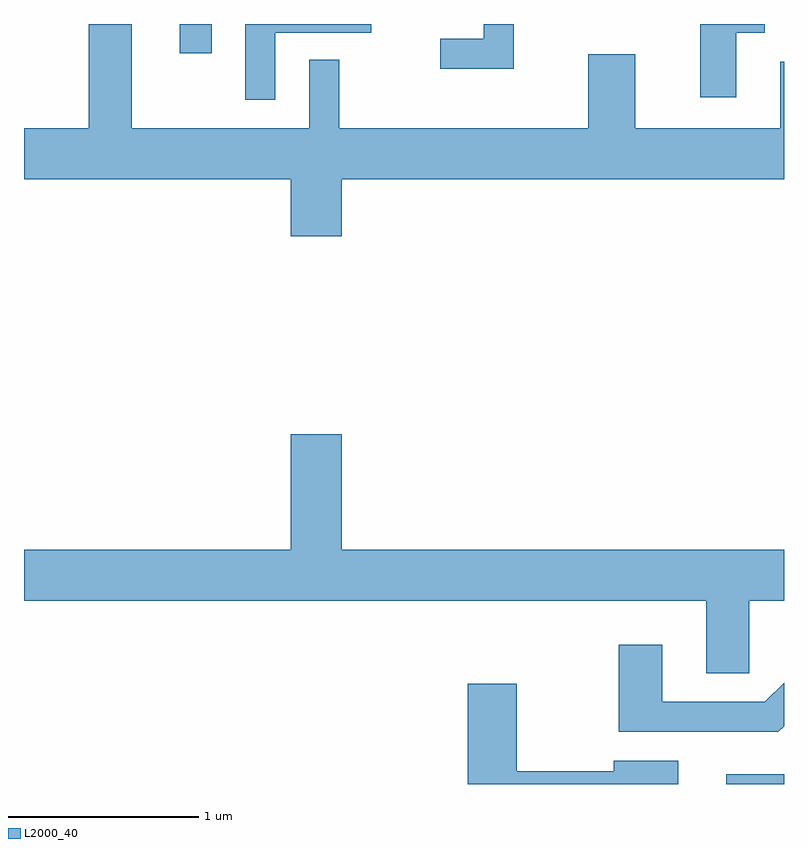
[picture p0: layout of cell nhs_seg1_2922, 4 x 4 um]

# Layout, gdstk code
import gdstk
lib = gdstk.Library(unit=1e-6, precision=1e-09)
def R(c, l, rs):  # rectangles x0, y0, x1, y1
    for r in rs: c.add(gdstk.rectangle(r[:2], r[2:], *l))
def P(c, l, *ps):  # polygons
    for p in ps: c.add(gdstk.Polygon(p, *l))
L2000_40 = (2000, 40)

nhs_seg1_2922 = lib.new_cell('nhs_seg1_2922')
R(nhs_seg1_2922, L2000_40, [(277.306,909.712,277.611,909.764), (274.431,913.558,274.599,913.712)])
P(nhs_seg1_2922, L2000_40, [(275.284,912.896),(277.611,912.896),(277.611,913.514),(277.591,913.514),(277.591,913.164),(276.829,913.164),(276.829,913.554),(276.581,913.554),(276.581,913.164),(275.269,913.164),(275.269,913.523),(275.111,913.523),(275.111,913.164),(274.179,913.164),(274.179,913.712),(273.951,913.712),(273.951,913.164),(273.611,913.164),(273.611,912.896),(275.016,912.896),(275.016,912.596),(275.284,912.596)],
  [(274.934,913.666),(275.439,913.666),(275.439,913.712),(274.776,913.712),(274.776,913.313),(274.934,913.313)],
  [(276.189,913.712),(276.031,913.712),(276.031,913.634),(275.803,913.634),(275.803,913.476),(276.189,913.476)],
  [(277.359,913.666),(277.509,913.666),(277.509,913.712),(277.171,913.712),(277.171,913.326),(277.359,913.326)],
  [(277.429,910.676),(277.611,910.676),(277.611,910.944),(275.284,910.944),(275.284,911.554),(275.016,911.554),(275.016,910.944),(273.611,910.944),(273.611,910.676),(277.201,910.676),(277.201,910.296),(277.429,910.296)],
  [(277.611,910.015),(277.611,910.246),(277.509,910.144),(276.969,910.144),(276.969,910.444),(276.741,910.444),(276.741,909.986),(277.582,909.986)],
  [(277.054,909.834),(276.716,909.834),(276.716,909.779),(276.204,909.779),(276.204,910.239),(275.946,910.239),(275.946,909.712),(277.054,909.712)])

lib.write_gds('nhs_seg1_2922.gds')
